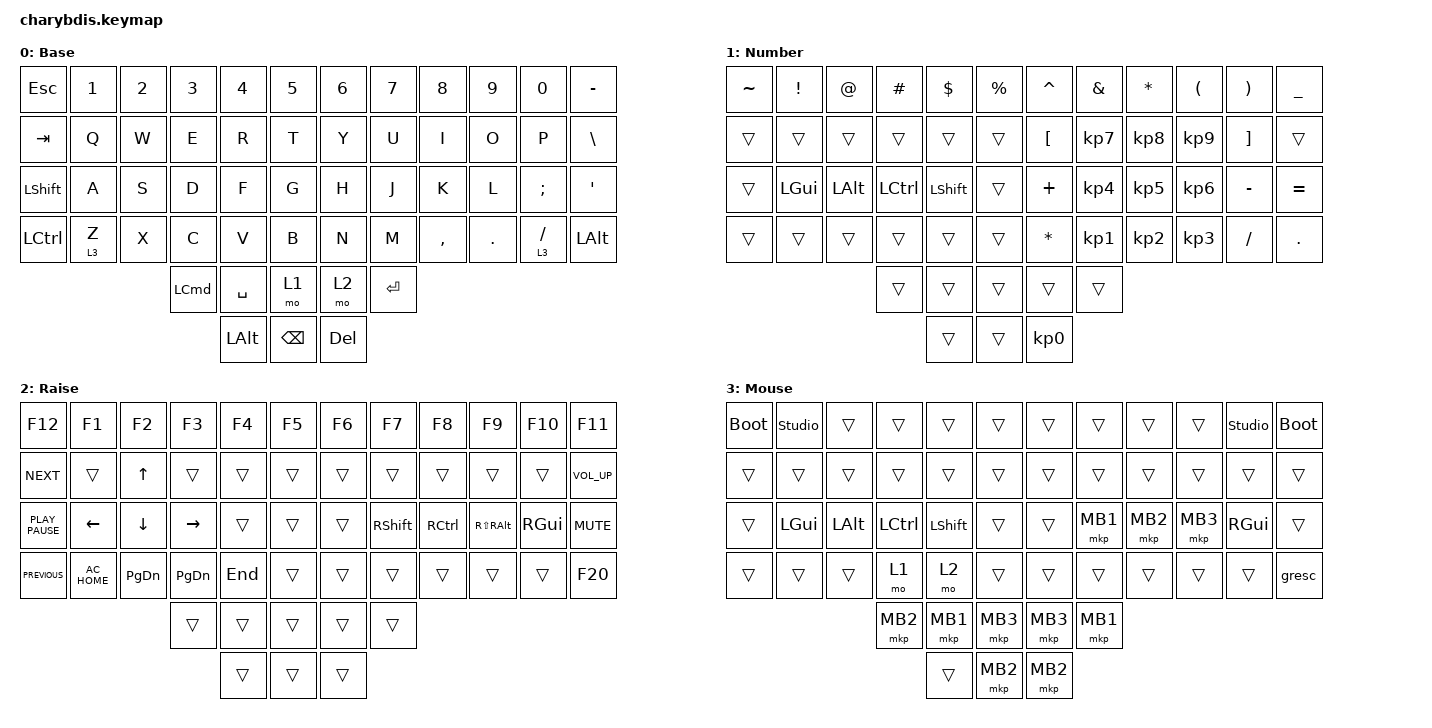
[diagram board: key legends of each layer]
#include <behaviors.dtsi>
#include <dt-bindings/zmk/keys.h>
#include <dt-bindings/zmk/pointing.h>

#define BASE 0
#define MOUSE 1
#define SYMBOL 2
#define NUMBER 3
#define FUNCTION 4
#define GAME 5
#define RESET 6
#define KEYS_L 0 1 2 3 4 10 11 12 13 14 20 21 22 23 24
#define KEYS_R 5 6 7 8 9 15 16 17 18 19 25 26 27 28 29
#define THUMBS 30 31 32 33 34 35

&sk {
    release-after-ms = <600>;
    quick-release;
};

&sl { ignore-modifiers; };

&mt { flavor = "tap-preferred"; };

&lt {
    flavor = "balanced";
    tapping-term-ms = <200>;
    quick-tap-ms = <175>;
};

&caps_word { /delete-property/ ignore-modifiers; };

/ {
    behaviors {
        hml: hml {
            compatible = "zmk,behavior-hold-tap";
            #binding-cells = <2>;
            flavor = "balanced";
            tapping-term-ms = <2000>;
            quick-tap-ms = <175>;
            require-prior-idle-ms = <250>;
            hold-trigger-key-positions = <KEYS_R THUMBS>;
            hold-trigger-on-release;
            bindings = <&kp>, <&kp>;
        };

        hmr: hmr {
            compatible = "zmk,behavior-hold-tap";
            #binding-cells = <2>;
            flavor = "balanced";
            tapping-term-ms = <2000>;
            quick-tap-ms = <175>;
            require-prior-idle-ms = <250>;
            hold-trigger-key-positions = <KEYS_L THUMBS>;
            hold-trigger-on-release;
            bindings = <&kp>, <&kp>;
        };

        hml_s: hml_s {
            compatible = "zmk,behavior-hold-tap";
            #binding-cells = <2>;
            flavor = "balanced";
            tapping-term-ms = <2000>;
            quick-tap-ms = <175>;
            require-prior-idle-ms = <0>;
            hold-trigger-key-positions = <KEYS_R THUMBS>;
            hold-trigger-on-release;
            bindings = <&kp>, <&kp>;
        };

        hmr_s: hmr_s {
            compatible = "zmk,behavior-hold-tap";
            #binding-cells = <2>;
            flavor = "balanced";
            tapping-term-ms = <2000>;
            quick-tap-ms = <175>;
            require-prior-idle-ms = <0>;
            hold-trigger-key-positions = <KEYS_L THUMBS>;
            hold-trigger-on-release;
            bindings = <&kp>, <&kp>;
        };

        smart_shift: smart_shift {
            compatible = "zmk,behavior-mod-morph";
            #binding-cells = <0>;
            bindings = <&sk LSHIFT>, <&caps_word>;

            mods = <(MOD_LSFT)>;
        };

        mmv_slow: mmv_slow {
            compatible = "zmk,behavior-input-two-axis";
            label = "MMV_SLOW";
            #binding-cells = <1>;
            x-input-code = <0>;
            y-input-code = <0>;
            time-to-max-speed-ms = <500>;
            acceleration-exponent = <1>;
        };

        msc_slow: msc_slow {
            compatible = "zmk,behavior-input-two-axis";
            label = "MSC_SLOW";
            #binding-cells = <1>;
            x-input-code = <0>;
            y-input-code = <0>;
            time-to-max-speed-ms = <500>;
            acceleration-exponent = <1>;
        };
    };

    combos {
        compatible = "zmk,combos";
        timeout-ms = <20>;
        require-prior-idle-ms = <250>;
    };

    chosen { zmk,physical-layout = &charybdis_6col_layout; };

    keymap {
        compatible = "zmk,keymap";

        Base {
            label = "Base";
            display-name = "Base";
            bindings = <
&kp ESC    &kp N1   &kp N2  &kp N3    &kp N4        &kp N5           &kp N6      &kp N7     &kp N8     &kp N9   &kp N0       &kp MINUS
&kp TAB    &kp Q    &kp W   &kp E     &kp R         &kp T            &kp Y       &kp U      &kp I      &kp O    &kp P        &kp BACKSLASH
&kp LSHFT  &kp A    &kp S   &kp D     &kp F         &kp G            &kp H       &kp J      &kp K      &kp L    &kp SEMI     &kp APOS
&kp LCTRL  &lt 3 Z  &kp X   &kp C     &kp V         &kp B            &kp N       &kp M      &kp COMMA  &kp DOT  &lt 3 SLASH  &kp LALT
                            &kp LCMD  &kp SPACE     &mo 1            &mo 2       &kp ENTER
                                      &kp LEFT_ALT  &kp BACKSPACE    &kp DELETE
            >;
        };

        Lower {
            label = "Lower";
            display-name = "Number";
            bindings = <
&kp TILDE  &kp EXCL  &kp AT    &kp HASH   &kp DOLLAR  &kp PERCENT    &kp CARET         &kp AMPERSAND    &kp STAR         &kp LEFT_PARENTHESIS  &kp RIGHT_PARENTHESIS  &kp UNDERSCORE
&trans     &trans    &trans    &trans     &trans      &trans         &kp LEFT_BRACKET  &kp KP_NUMBER_7  &kp KP_NUMBER_8  &kp KP_N9             &kp RIGHT_BRACKET      &trans
&trans     &kp LGUI  &kp LALT  &kp LCTRL  &kp LSHFT   &trans         &kp PLUS          &kp KP_NUMBER_4  &kp KP_NUMBER_5  &kp KP_N6             &kp MINUS              &kp EQUAL
&trans     &trans    &trans    &trans     &trans      &trans         &kp ASTRK         &kp KP_N1        &kp KP_N2        &kp KP_N3             &kp SLASH              &kp PERIOD
                               &trans     &trans      &trans         &trans            &trans
                                          &trans      &trans         &kp KP_N0
            >;
        };

        Raise {
            label = "Raise";
            display-name = "Raise";
            bindings = <
&kp F12           &kp F1         &kp F2     &kp F3         &kp F4   &kp F5    &kp F6  &kp F7     &kp F8     &kp F9             &kp F10   &kp F11
&kp K_NEXT        &trans         &kp UP     &trans         &trans   &trans    &trans  &trans     &trans     &trans             &trans    &kp K_VOLUME_UP
&kp K_PLAY_PAUSE  &kp LEFT       &kp DOWN   &kp RIGHT      &trans   &trans    &trans  &kp RSHFT  &kp RCTRL  &kp RS(RIGHT_ALT)  &kp RGUI  &kp K_MUTE
&kp K_PREVIOUS    &kp C_AC_HOME  &kp PG_DN  &kp PAGE_DOWN  &kp END  &trans    &trans  &trans     &trans     &trans             &trans    &kp F20
                                            &trans         &trans   &trans    &trans  &trans
                                                           &trans   &trans    &trans
            >;
        };

        Mouse {
            label = "Mouse";
            display-name = "Mouse";
            bindings = <
&bootloader  &studio_unlock  &trans    &trans     &trans      &trans      &trans    &trans    &trans    &trans    &studio_unlock  &bootloader
&trans       &trans          &trans    &trans     &trans      &trans      &trans    &trans    &trans    &trans    &trans          &trans
&trans       &kp LEFT_GUI    &kp LALT  &kp LCTRL  &kp LSHIFT  &trans      &trans    &mkp MB1  &mkp MB2  &mkp MB3  &kp RIGHT_GUI   &trans
&trans       &trans          &trans    &mo 1      &mo 2       &trans      &trans    &trans    &trans    &trans    &trans          &gresc
                                       &mkp MB2   &mkp MB1    &mkp MB3    &mkp MB3  &mkp MB1
                                                  &trans      &mkp MB2    &mkp MB2
            >;
        };
    };
};
